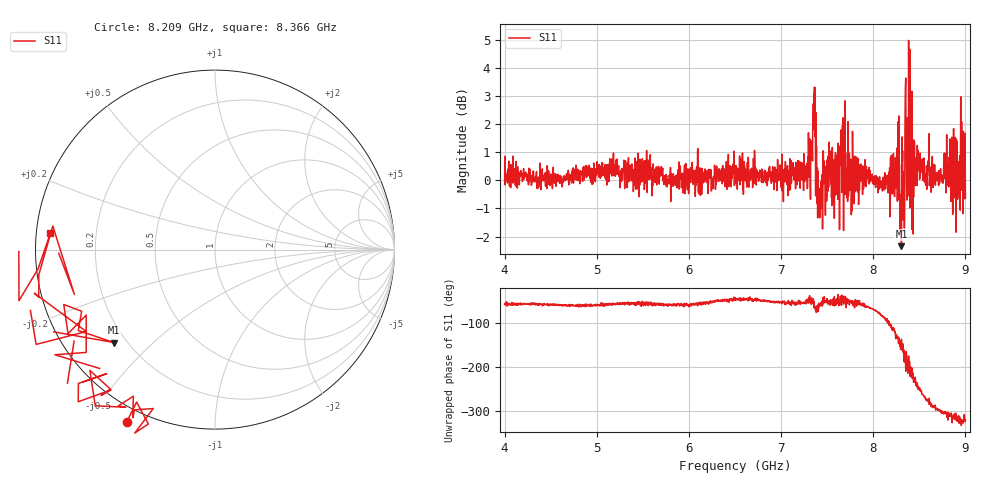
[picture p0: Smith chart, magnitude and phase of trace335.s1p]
! Created with skrf 1.8.0 (http://scikit-rf.org).
# Hz S RI R 50.0
!freq ReS11 ImS11
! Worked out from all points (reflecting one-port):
!   1601 points, 4 GHz to 9 GHz, reference 50 ohm
!   lowest |S11| = -2.3 dB at 8.306 GHz (marker M1), VSWR 7.46, Z = 7.71 - j19.2 ohm
!   phase of S11 starts at -57 deg and turns -262 deg over the sweep
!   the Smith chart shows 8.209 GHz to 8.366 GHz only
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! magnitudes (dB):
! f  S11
! 4 GHz  0.0
! 4.625 GHz  -0.2
! 5.25 GHz  0.1
! 5.875 GHz  0.0
! 6.5 GHz  0.4
! 7.125 GHz  0.3
! 7.294 GHz  0.3
! 7.347 GHz  2.2
! 7.369 GHz  3.3
! 7.4 GHz  0.3
! 7.428 GHz  -0.6
! 7.478 GHz  0.2
! 7.525 GHz  0.7
! 7.591 GHz  1.0
! 7.669 GHz  1.5
! 7.75 GHz  0.7
! 8.075 GHz  0.0
! 8.259 GHz  0.6
! 8.306 GHz  -2.3
! 8.316 GHz  0.7
! 8.334 GHz  -0.8
! 8.375 GHz  -0.6
! 8.447 GHz  1.4
! 8.503 GHz  0.0
! 8.562 GHz  -0.1
! 8.875 GHz  -0.3
! 8.956 GHz  0.2
! 9 GHz  -0.6
